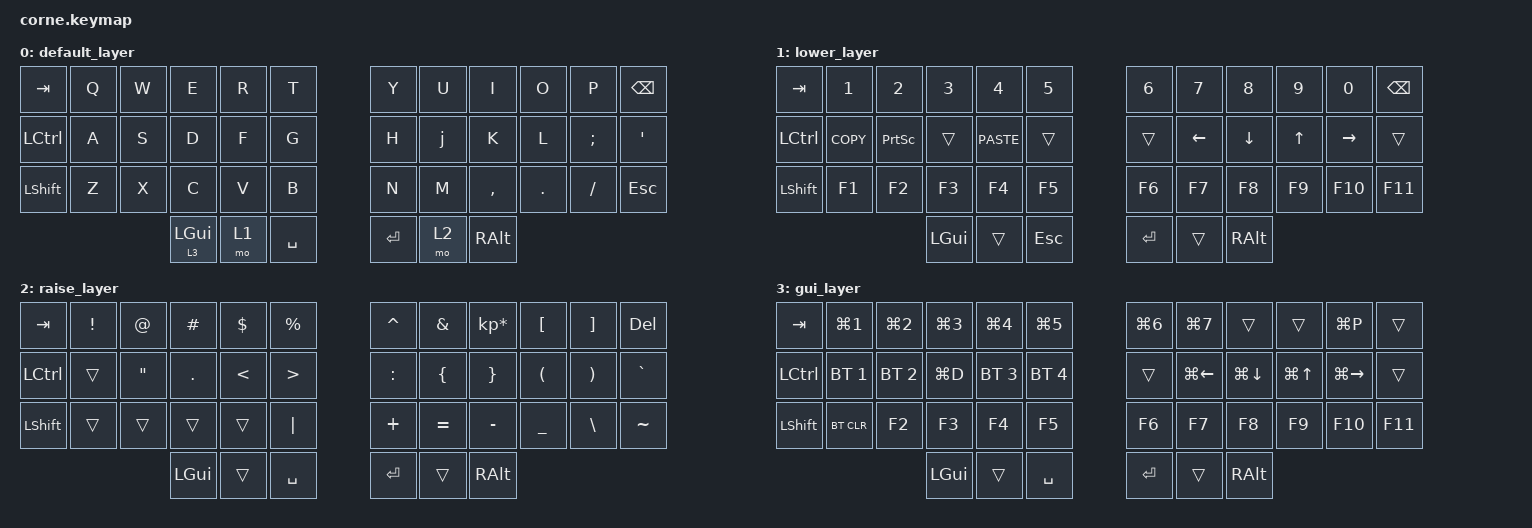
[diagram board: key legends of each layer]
/*
 * Copyright (c) 2020 The ZMK Contributors
 *
 * SPDX-License-Identifier: MIT
 */

#include <behaviors.dtsi>
#include <dt-bindings/zmk/keys.h>
#include <dt-bindings/zmk/bt.h>

/ {
        keymap {
                compatible = "zmk,keymap";

                default_layer {
// -----------------------------------------------------------------------------------------
// |  TAB |  Q  |  W  |  E  |  R  |  T  |   |  Y  |  U   |  I  |  O  |  P  | BKSP |
// | CTRL |  A  |  S  |  D  |  F  |  G  |   |  H  |  J   |  K  |  L  |  ;  |  '   |
// | SHFT |  Z  |  X  |  C  |  V  |  B  |   |  N  |  M   |  ,  |  .  |  /  | ESC  |
//                    | GUI | LWR | SPC |   | ENT | RSE  | ALT |
                        bindings = <
   &kp TAB   &kp Q &kp W &kp E &kp R &kp T   &kp Y &kp U  &kp I     &kp O   &kp P    &kp BSPC
   &kp LCTRL &kp A &kp S &kp D &kp F &kp G   &kp H &kp j   &kp K     &kp L   &kp SEMI &kp SQT
   &kp LSHFT &kp Z &kp X &kp C &kp V &kp B   &kp N &kp M  &kp COMMA &kp DOT &kp FSLH &kp ESC
                  &lt 3 LGUI &mo 1 &kp SPACE   &kp RET &mo 2 &kp RALT
                        >;
                };
                lower_layer {
// -----------------------------------------------------------------------------------------
// |  TAB|  1  |  2  |  3  |  4  |  5  |   |  6  |  7  |  8  |  9  |  0  | DEL |
// | CTRL| Y |  PS   |     | P |     |   |     | LFT | DWN |  UP | RGT |      |
// | SHFT |  F1 |  F2 | F3  | F4  | F5  |   | F6  | F7  | F8  |  F9 | F10 | F11  |
//                    | SPC |     | ESC |   | ENT |     | ALT |
                        bindings = <
   &kp TAB    &kp N1       &kp N2       &kp N3       &kp N4       &kp N5         &kp N6   &kp N7   &kp N8   &kp N9 &kp N0     &kp BSPC
   &kp LCTRL  &kp K_COPY        &kp PSCRN       &trans       &kp K_PASTE        &trans          &trans   &kp LEFT &kp DOWN &kp UP &kp RIGHT &trans
   &kp LSHFT  &kp F1       &kp F2       &kp F3       &kp F4       &kp F5         &kp F6 &kp F7   &kp F8   &kp F9 &kp F10   &kp F11
                          	        &kp LGUI     &trans       &kp ESC      &kp RET  &trans   &kp RALT
                        >;
                };

                raise_layer {
// -----------------------------------------------------------------------------------------
// |  TAB |  !  |  @  |  #  |  $  |  %  |   |  ^  |  &  |  *  |  [  |  ]  | BKSP |
// | CTRL |     |  "  |  .  |  <  |  >  |   |  :  |  {  |  }  |  (  |  )  |  `   |
// | SHFT |     |     |     |     | "|" |   |  +  |  =  |  -  |  _  |     |  ~   |
//                    | GUI |     | SPC |   | ENT |     | ALT |
                        bindings = <
   &kp  TAB  &kp EXCL &kp AT &kp HASH &kp DLLR &kp PRCNT   &kp CARET &kp AMPS  &kp KP_MULTIPLY &kp LBKT &kp RBKT &kp DEL
   &kp LCTRL &trans   &kp DQT &kp DOT   &kp LT   &kp GT         &kp COLON &kp LBRC &kp RBRC        &kp LPAR &kp RPAR &kp GRAVE
   &kp LSHFT &trans   &trans &trans   &trans   &kp PIPE      &kp PLUS &kp EQUAL  &kp MINUS        &kp UNDER &kp BSLH &kp TILDE
                    	     &kp LGUI &trans   &kp SPACE   &kp RET   &trans    &kp RALT
                        >;
                };
                gui_layer {
// -----------------------------------------------------------------------------------------
// |  TAB|  1  |  2  |  3  |  4  |  5  |   |  6  |  7  |  8  |     |  P  | DEL |
// | CTRL|     |     |     |  D  |     |   |     |     |     |     |     |      |
// | SHFT |     |     |     |     |     |   |     |     |     |     |     |      |
//                    | SPC |     | ESC |   | ENT |     | ALT |
                        bindings = <
   &kp TAB    &kp LG(N1)  &kp LG(N2) &kp LG(N3) &kp LG(N4) &kp LG(N5)           &kp LG(N6)  &kp LG(N7)   &trans           &trans       &kp LG(P)     &trans
   &kp LCTRL  &bt BT_SEL 1  &bt BT_SEL 2 &kp LG(D)  &bt BT_SEL 3 &bt BT_SEL 4           &trans        &kp LG(LEFT) &kp LG(DOWN)   &kp LG(UP) &kp LG(RIGHT) &trans
   &kp LSHFT  &bt BT_CLR        &kp F2       &kp F3       &kp F4       &kp F5                 &kp F6        &kp F7         &kp F8           &kp F9       &kp F10         &kp F11
                                                      &kp LGUI &trans   &kp SPACE         &kp RET   &trans    &kp RALT
                        >;
                };
        };
};

